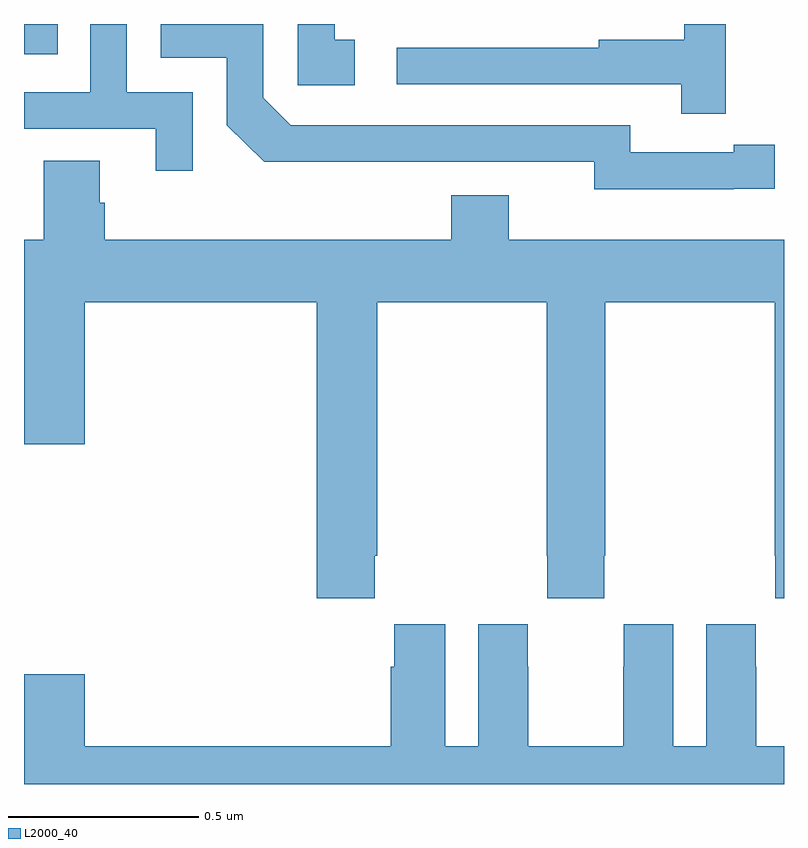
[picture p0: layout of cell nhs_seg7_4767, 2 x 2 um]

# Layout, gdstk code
import gdstk
lib = gdstk.Library(unit=1e-6, precision=1e-09)
def R(c, l, rs):  # rectangles x0, y0, x1, y1
    for r in rs: c.add(gdstk.rectangle(r[:2], r[2:], *l))
def P(c, l, *ps):  # polygons
    for p in ps: c.add(gdstk.Polygon(p, *l))
L2000_40 = (2000, 40)

nhs_seg7_4767 = lib.new_cell('nhs_seg7_4767')
R(nhs_seg7_4767, L2000_40, [(177,1015.92,177.089,1016)])
P(nhs_seg7_4767, L2000_40, [(177.871,1015.959),(177.818,1015.959),(177.818,1016),(177.72,1016),(177.72,1015.839),(177.871,1015.839)],
  [(178.868,1015.566),(178.976,1015.566),(178.976,1015.682),(178.868,1015.682),(178.868,1015.662),(178.596,1015.662),(178.596,1015.734),(177.702,1015.734),(177.63,1015.806),(177.63,1016),(177.36,1016),(177.36,1015.911),(177.534,1015.911),(177.534,1015.734),(177.632,1015.637),(178.04,1015.637),(178.04,1015.638),(178.5,1015.638),(178.5,1015.565),(178.868,1015.565)],
  [(178.847,1016),(178.737,1016),(178.737,1015.958),(178.513,1015.958),(178.513,1015.938),(177.981,1015.938),(177.981,1015.842),(178.729,1015.842),(178.729,1015.764),(178.847,1015.764)],
  [(177.444,1015.821),(177.27,1015.821),(177.27,1016),(177.174,1016),(177.174,1015.821),(177,1015.821),(177,1015.725),(177.347,1015.725),(177.347,1015.614),(177.444,1015.614)],
  [(177.923,1014.601),(177.93,1014.601),(177.93,1015.268),(178.375,1015.268),(178.375,1014.601),(178.377,1014.601),(178.377,1014.489),(178.527,1014.489),(178.527,1014.601),(178.53,1014.601),(178.53,1015.268),(178.975,1015.268),(178.975,1014.601),(178.977,1014.601),(178.977,1014.489),(179,1014.489),(179,1015.432),(178.276,1015.432),(178.276,1015.549),(178.124,1015.549),(178.124,1015.432),(177.212,1015.432),(177.212,1015.53),(177.199,1015.53),(177.199,1015.64),(177.052,1015.64),(177.052,1015.432),(177,1015.432),(177,1014.894),(177.16,1014.894),(177.16,1015.268),(177.77,1015.268),(177.77,1014.489),(177.923,1014.489)],
  [(179,1014.1),(178.927,1014.1),(178.927,1014.308),(178.926,1014.308),(178.926,1014.421),(178.796,1014.421),(178.796,1014.1),(178.708,1014.1),(178.708,1014.421),(178.578,1014.421),(178.578,1014.308),(178.577,1014.308),(178.577,1014.1),(178.327,1014.1),(178.327,1014.308),(178.326,1014.308),(178.326,1014.421),(178.196,1014.421),(178.196,1014.1),(178.108,1014.1),(178.108,1014.421),(177.974,1014.421),(177.974,1014.308),(177.965,1014.308),(177.965,1014.1),(177.16,1014.1),(177.16,1014.289),(177,1014.289),(177,1014),(179,1014)])

lib.write_gds('nhs_seg7_4767.gds')
